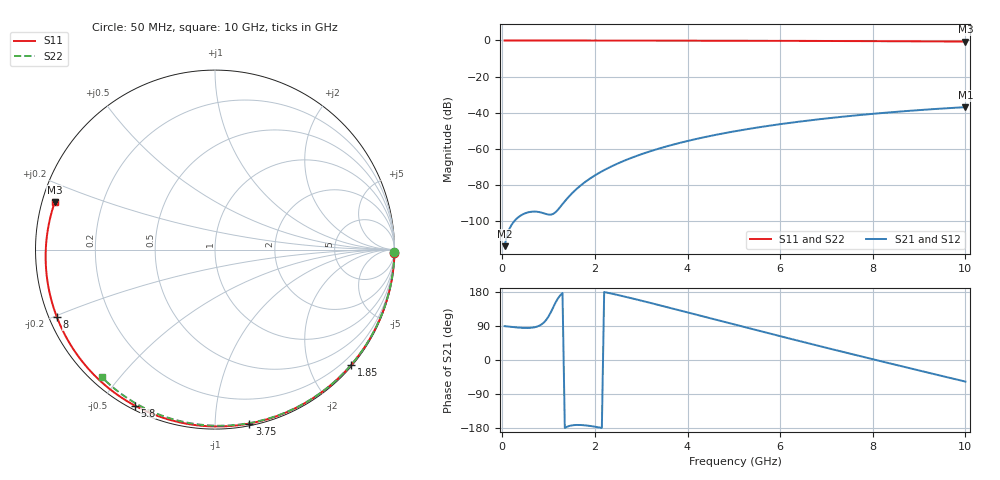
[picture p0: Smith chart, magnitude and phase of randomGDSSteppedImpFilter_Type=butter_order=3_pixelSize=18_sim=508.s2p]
! freq	dB(S11)	phase(S11)	dB(S12)	phase(S12)
!  dB(S21)	phase(S21)	dB(S22)	phase(S22)
!S-par simulation data
#  GHz  S  DB  R 50
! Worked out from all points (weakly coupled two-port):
!   200 points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, 50 MHz to 10 GHz, reference 50 ohm
!   highest |S21| = -36.99 dB at 10 GHz (marker M1); lowest = -114.1 dB at 50 MHz (marker M2)
!   lowest |S11| = -0.6 dB at 10 GHz (marker M3), VSWR 28.04, Z = 1.82 + j7.2 ohm
!   |S11| at or under -10 dB: nowhere
!   |S22| runs from -0.4 to 0.0 dB; largest |S21 - S12| = 0
!   S11 on the Smith chart (normalised r, x): 50 MHz: open; 1.85 GHz: 0.02, -2.73; 3.75 GHz: 0.02, -1.22; 5.8 GHz: 0.02, -0.61; 8 GHz: 0.02, -0.20; 10 GHz: 0.04, +0.14
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0.05  -0.00 -1.1  -114.08 89.3  -114.08 89.3  -0.00 -0.8
0.45  -0.01 -10.0  -96.34 84.7  -96.34 84.7  -0.01 -6.9
0.85  -0.02 -18.8  -95.49 94.1  -95.49 94.1  -0.02 -12.9
1.25  -0.03 -27.4  -92.38 170.5  -92.38 170.5  -0.02 -18.9
1.7  -0.05 -37.1  -80.25 -171.6  -80.25 -171.6  -0.03 -25.6
1.75  -0.05 -38.1  -79.24 -172.0  -79.24 -172.0  -0.03 -26.3
1.85  -0.05 -40.2  -77.36 -173.3  -77.36 -173.3  -0.04 -27.8
2.15  -0.06 -46.6  -72.59 -179.4  -72.59 -179.4  -0.04 -32.2
2.5  -0.07 -53.8  -68.15 171.4  -68.15 171.4  -0.05 -37.2
2.9  -0.08 -62.0  -64.03 159.7  -64.03 159.7  -0.06 -43.0
3.4  -0.10 -72.0  -59.83 144.4  -59.83 144.4  -0.07 -50.1
3.75  -0.11 -78.8  -57.35 133.5  -57.35 133.5  -0.07 -54.9
4.4  -0.13 -91.3  -53.44 113.0  -53.44 113.0  -0.09 -63.8
5.05  -0.16 -103.4  -50.23 92.5  -50.23 92.5  -0.11 -72.4
5.8  -0.20 -117.1  -47.15 69.1  -47.15 69.1  -0.14 -82.1
6.7  -0.26 -133.3  -44.12 41.3  -44.12 41.3  -0.18 -93.3
7.35  -0.31 -145.0  -42.29 21.5  -42.29 21.5  -0.22 -101.1
8  -0.37 -156.9  -40.69 2.0  -40.69 2.0  -0.26 -108.8
8.35  -0.41 -163.4  -39.91 -8.4  -39.91 -8.4  -0.29 -112.9
9.2  -0.51 -179.9  -38.26 -33.5  -38.26 -33.5  -0.36 -122.6
9.6  -0.56 172.0  -37.59 -45.3  -37.59 -45.3  -0.40 -127.2
10  -0.62 163.6  -36.99 -57.0  -36.99 -57.0  -0.45 -131.7
